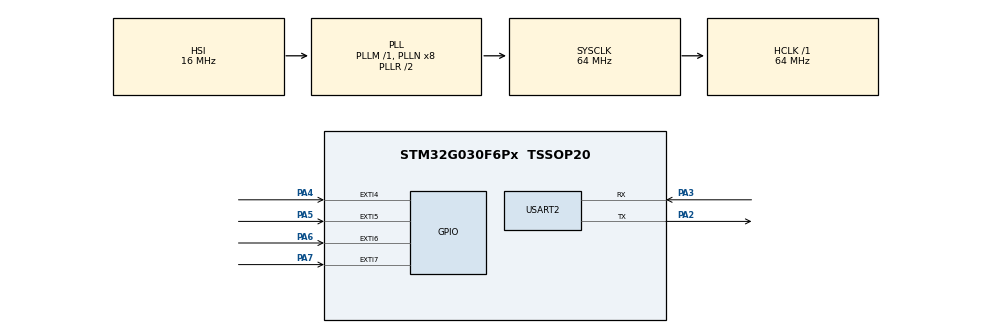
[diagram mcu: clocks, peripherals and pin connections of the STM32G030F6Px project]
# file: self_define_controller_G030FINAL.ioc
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Mcu.Family=STM32G0
Mcu.Name=STM32G030F6Px
Mcu.Package=TSSOP20
NVIC.EXTI4_15_IRQn=true\:0\:0\:false\:false\:true\:true\:true\:true
NVIC.TIM3_IRQn=true\:3\:0\:false\:false\:true\:false\:true\:true
NVIC.TimeBase=TIM3_IRQn
NVIC.TimeBaseIP=TIM3
NVIC.USART2_IRQn=true\:0\:0\:false\:false\:true\:true\:true\:true
PA13.Mode=Serial_Wire
PA13.Signal=SYS_SWDIO
PA14-BOOT0.Mode=Serial_Wire
PA14-BOOT0.Signal=SYS_SWCLK
PA14-BOOT0__PA15.StandardMode=true
PA2.Mode=Asynchronous
PA2.Signal=USART2_TX
PA3.Mode=Asynchronous
PA3.Signal=USART2_RX
PA4.GPIO_ModeDefaultEXTI=GPIO_MODE_IT_FALLING
PA4.GPIO_PuPd=GPIO_PULLDOWN
PA4.Signal=GPXTI4
PA5.GPIO_ModeDefaultEXTI=GPIO_MODE_IT_FALLING
PA5.GPIO_PuPd=GPIO_PULLDOWN
PA5.Signal=GPXTI5
PA6.GPIO_ModeDefaultEXTI=GPIO_MODE_IT_FALLING
PA6.GPIO_PuPd=GPIO_PULLDOWN
PA6.Signal=GPXTI6
PA7.GPIO_ModeDefaultEXTI=GPIO_MODE_IT_FALLING
PA7.GPIO_PuPd=GPIO_PULLDOWN
PA7.Signal=GPXTI7
PB0__PB1__PB2__PA8.StandardMode=true
PB3__PB4__PB5__PB6.StandardMode=true
PB7__PB8.StandardMode=true
PC14-OSC32_IN\ (PC14)__PB9.StandardMode=true
ProjectManager.HeapSize=0x200
ProjectManager.StackSize=0x400
ProjectManager.TargetToolchain=MDK-ARM V5
RCC.ADCFreq_Value=64000000
RCC.AHBFreq_Value=64000000
RCC.CortexFreq_Value=64000000
RCC.EXTERNAL_CLOCK_VALUE=12288000
RCC.HCLKFreq_Value=64000000
RCC.HSE_VALUE=8000000
RCC.HSI_VALUE=16000000
RCC.LSE_VALUE=32768
RCC.SYSCLKFreq_VALUE=64000000
RCC.SYSCLKSource=RCC_SYSCLKSOURCE_PLLCLK
RCC.VCOOutputFreq_Value=128000000
USART2.VirtualMode-Asynchronous=VM_ASYNC
VP_SYS_VS_tim3.Mode=TIM3
board=custom

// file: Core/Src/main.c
/* USER CODE BEGIN Header */
/**
  ******************************************************************************
  * @file           : main.c
  * @brief          : Main program body
  ******************************************************************************
  * @attention
  *
  * Copyright (c) 2023 STMicroelectronics.
  * All rights reserved.
  *
  * This software is licensed under terms that can be found in the LICENSE file
  * in the root directory of this software component.
  * If no LICENSE file comes with this software, it is provided AS-IS.
  *
  ******************************************************************************
  */
/* USER CODE END Header */
#include "main.h"
#include "usart.h"
#include "gpio.h"

/* USER CODE BEGIN Includes */
#include "crc.h"
#include "auto_buy_bullet.h"
/* USER CODE END Includes */

void SystemClock_Config(void);

int main(void)
{

  /* MCU Configuration--------------------------------------------------------*/

  /* Reset of all peripherals, Initializes the Flash interface and the Systick. */
  HAL_Init();

  /* Configure the system clock */
  SystemClock_Config();

  /* Initialize all configured peripherals */
  MX_GPIO_Init();
  MX_USART2_UART_Init();

  /* Infinite loop */
  /* USER CODE BEGIN WHILE */
  while (1)
  {
	  //	  test();
//	  HAL_Delay(50);
    switch (Interactive_Class.command_running_state)
	{
		case COMMAND_KEY1:
			Buy_bullet(4);
		break;
		case COMMAND_KEY2:
			Buy_bullet(3);
		break;
		case COMMAND_KEY3:
			//Buy_bullet(2);
			Deploy();
		break;

		default:
			break;
	}
    /* USER CODE END WHILE */

  }
}

void SystemClock_Config(void)
{
  RCC_OscInitTypeDef RCC_OscInitStruct = {0};
  RCC_ClkInitTypeDef RCC_ClkInitStruct = {0};

  /** Configure the main internal regulator output voltage
  */
  HAL_PWREx_ControlVoltageScaling(PWR_REGULATOR_VOLTAGE_SCALE1);

  /** Initializes the RCC Oscillators according to the specified parameters
  * in the RCC_OscInitTypeDef structure.
  */
  RCC_OscInitStruct.OscillatorType = RCC_OSCILLATORTYPE_HSI;
  RCC_OscInitStruct.HSIState = RCC_HSI_ON;
  RCC_OscInitStruct.HSIDiv = RCC_HSI_DIV1;
  RCC_OscInitStruct.HSICalibrationValue = RCC_HSICALIBRATION_DEFAULT;
  RCC_OscInitStruct.PLL.PLLState = RCC_PLL_ON;
  RCC_OscInitStruct.PLL.PLLSource = RCC_PLLSOURCE_HSI;
  RCC_OscInitStruct.PLL.PLLM = RCC_PLLM_DIV1;
  RCC_OscInitStruct.PLL.PLLN = 8;
  RCC_OscInitStruct.PLL.PLLP = RCC_PLLP_DIV2;
  RCC_OscInitStruct.PLL.PLLR = RCC_PLLR_DIV2;
  if (HAL_RCC_OscConfig(&RCC_OscInitStruct) != HAL_OK)
  {
    Error_Handler();
  }

  /** Initializes the CPU, AHB and APB buses clocks
  */
  RCC_ClkInitStruct.ClockType = RCC_CLOCKTYPE_HCLK|RCC_CLOCKTYPE_SYSCLK
                              |RCC_CLOCKTYPE_PCLK1;
  RCC_ClkInitStruct.SYSCLKSource = RCC_SYSCLKSOURCE_PLLCLK;
  RCC_ClkInitStruct.AHBCLKDivider = RCC_SYSCLK_DIV1;
  RCC_ClkInitStruct.APB1CLKDivider = RCC_HCLK_DIV1;

  if (HAL_RCC_ClockConfig(&RCC_ClkInitStruct, FLASH_LATENCY_2) != HAL_OK)
  {
    Error_Handler();
  }
}

/* USER CODE BEGIN 4 */
uint8_t buf[4];
void HAL_GPIO_EXTI_Falling_Callback(uint16_t GPIO_Pin)
{
	uint32_t delay_tick;
	while(delay_tick<=840000)
	{
		delay_tick++;
	}
	delay_tick=0;
	if(Interactive_Class.command_running_state!=COMMAND_SLEEP)
	{
		return;
	}
	if(HAL_GPIO_ReadPin(GPIOA,GPIO_PIN_7)==GPIO_PIN_RESET)//KEY1
	{
		Interactive_Class.command_running_state=COMMAND_KEY1;
		buf[0]++;
	}
	if(HAL_GPIO_ReadPin(GPIOA,GPIO_PIN_5)==GPIO_PIN_RESET)//KEY3
	{
		Interactive_Class.command_running_state=COMMAND_KEY3;
		buf[1]++;
	}
	if(HAL_GPIO_ReadPin(GPIOA,GPIO_PIN_6)==GPIO_PIN_RESET)//KEY2
	{
		Interactive_Class.command_running_state=COMMAND_KEY2;
		buf[2]++;
	}

}
/* USER CODE END 4 */

void HAL_TIM_PeriodElapsedCallback(TIM_HandleTypeDef *htim)
{
  if (htim->Instance == TIM3)
  {
    HAL_IncTick();
  }
}

void Error_Handler(void)
{
  __disable_irq();
  while (1)
  {
  }
}
